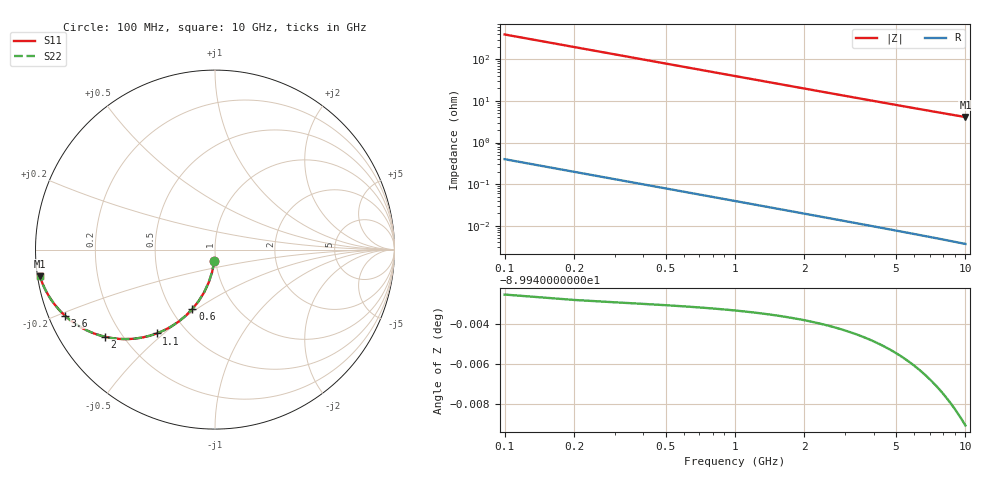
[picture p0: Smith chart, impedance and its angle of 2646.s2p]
# Hz S RI R 50.00
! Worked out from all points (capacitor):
!   100 points, 100 MHz to 10 GHz, reference 50 ohm
!   read as one part in shunt: C = 4.01 pF near 100 MHz
!   lowest |Z| = 4.1 ohm at 10 GHz (marker M1)
!   S11 on the Smith chart (normalised r, x): 100 MHz: 0.98, -0.12; 600 MHz: 0.64, -0.48; 1.1 GHz: 0.34, -0.47; 2 GHz: 0.14, -0.34; 3.6 GHz: 0.05, -0.21; 10 GHz: 0.01, -0.08
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1e8  -0.00401 -0.0628  0.996 -0.0629  0.996 -0.0629  -0.00401 -0.0628
2e8  -0.0158 -0.124  0.9842 -0.1242  0.9842 -0.1242  -0.0158 -0.124
3e8  -0.0347 -0.1824  0.9653 -0.1827  0.9653 -0.1827  -0.0347 -0.1824
4e8  -0.06 -0.2368  0.94 -0.2372  0.94 -0.2372  -0.06 -0.2368
5e8  -0.0906 -0.2863  0.9093 -0.2869  0.9093 -0.2869  -0.0906 -0.2863
6e8  -0.1254 -0.3304  0.8745 -0.331  0.8745 -0.331  -0.1254 -0.3304
8e8  -0.203 -0.4013  0.797 -0.4022  0.797 -0.4022  -0.203 -0.4013
9e8  -0.2437 -0.4283  0.7563 -0.4293  0.7563 -0.4293  -0.2437 -0.4283
1.1e9  -0.3248 -0.4672  0.6752 -0.4684  0.6752 -0.4684  -0.3248 -0.4672
1.4e9  -0.4377 -0.4949  0.5623 -0.4963  0.5623 -0.4963  -0.4377 -0.4949
1.8e9  -0.5624 -0.4946  0.4376 -0.4965  0.4376 -0.4965  -0.5624 -0.4946
2e9  -0.6133 -0.4854  0.3867 -0.4876  0.3867 -0.4876  -0.6133 -0.4854
2.3e9  -0.6769 -0.4659  0.323 -0.4684  0.323 -0.4684  -0.6769 -0.4659
2.6e9  -0.7279 -0.4431  0.272 -0.4459  0.272 -0.4459  -0.7279 -0.4431
3e9  -0.7807 -0.4117  0.2193 -0.4149  0.2193 -0.4149  -0.7807 -0.4117
3.4e9  -0.8204 -0.3815  0.1796 -0.3852  0.1796 -0.3852  -0.8204 -0.3815
3.6e9  -0.8366 -0.3673  0.1634 -0.3712  0.1634 -0.3712  -0.8366 -0.3673
4.3e9  -0.8794 -0.3228  0.1205 -0.3274  0.1205 -0.3274  -0.8794 -0.3228
5.1e9  -0.9111 -0.2813  0.0888 -0.2868  0.0888 -0.2868  -0.9111 -0.2813
6.7e9  -0.9464 -0.2209  0.0535 -0.2282  0.0535 -0.2282  -0.9464 -0.2209
8.4e9  -0.9653 -0.1779  0.0346 -0.1871  0.0346 -0.1871  -0.9653 -0.1779
1e10  -0.9753 -0.1491  0.0246 -0.1601  0.0246 -0.1601  -0.9753 -0.1491
